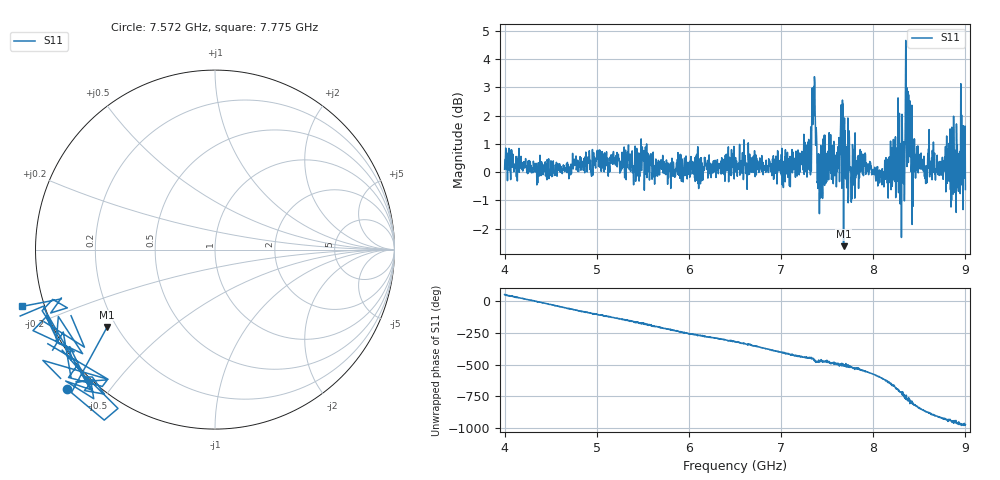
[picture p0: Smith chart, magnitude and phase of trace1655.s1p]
! Created with skrf 1.8.0 (http://scikit-rf.org).
# Hz S RI R 50.0
!freq ReS11 ImS11
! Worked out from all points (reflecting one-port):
!   1601 points, 4 GHz to 9 GHz, reference 50 ohm
!   lowest |S11| = -2.6 dB at 7.678 GHz (marker M1), VSWR 6.68, Z = 8.24 - j15.7 ohm
!   phase of S11 starts at 54 deg and turns -1028 deg over the sweep
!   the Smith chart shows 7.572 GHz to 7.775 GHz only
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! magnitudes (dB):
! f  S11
! 4 GHz  0.1
! 4.625 GHz  -0.1
! 5.25 GHz  0.0
! 5.875 GHz  0.4
! 6.5 GHz  0.3
! 7.125 GHz  0.0
! 7.294 GHz  0.3
! 7.359 GHz  2.3
! 7.412 GHz  -0.4
! 7.512 GHz  0.7
! 7.609 GHz  0.0
! 7.65 GHz  2.4
! 7.678 GHz  -2.6
! 7.703 GHz  0.4
! 7.75 GHz  0.1
! 7.775 GHz  1.0
! 7.891 GHz  0.3
! 8.097 GHz  0.1
! 8.231 GHz  0.0
! 8.259 GHz  0.7
! 8.312 GHz  2.0
! 8.334 GHz  1.1
! 8.375 GHz  0.7
! 8.406 GHz  1.1
! 8.447 GHz  1.2
! 8.919 GHz  -0.5
! 8.972 GHz  0.6
! 9 GHz  -0.6
